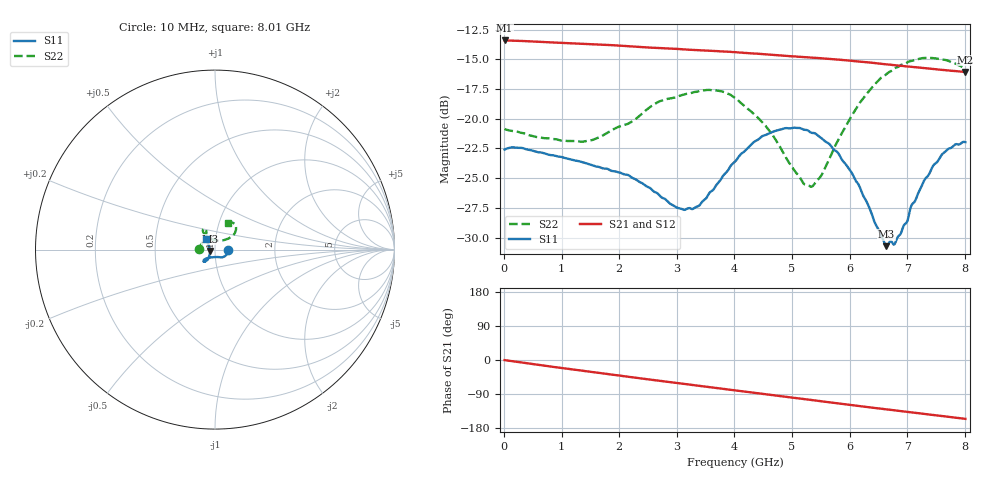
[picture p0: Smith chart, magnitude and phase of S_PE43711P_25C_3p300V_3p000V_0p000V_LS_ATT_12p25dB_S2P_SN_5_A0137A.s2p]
! Device ID: PE43711P
! File Path: z:\PE43711P\CHAR_NOM_04282014\AMB\3p300\LS_ATT_12p25dB\PE43711P_AMB_3p300V_3p000V_0p000V_LS_ATT_12p25dB_S2P_SN_5_A0137A.s2p
! Serial: 5
! Lot: A0137A
! Temp: 25C
! VDD: 3.300
! VSS: 0.000
! Control_Hi: 3.000
! Control_Lo: 0.000
! Attenuation Step: 12.25dB
! Port 1: RF1
! Port 2: RF2
! ThroughPath:1-2
! IDD: 0.000127623
! ISS: -9.22e-008
#  Hz  S  RI  R  50
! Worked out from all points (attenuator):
!   801 points, 10 MHz to 8.01 GHz, reference 50 ohm
!   highest |S21| = -13.41 dB at 10 MHz (marker M1); lowest = -16.1 dB at 8.01 GHz (marker M2)
!   lowest |S11| = -30.7 dB at 6.64 GHz (marker M3), VSWR 1.06, Z = 47.3 - j0.72 ohm
!   |S11| at or under -10 dB: start of sweep to end of sweep
!   |S22| runs from -25.7 to -14.9 dB; largest |S21 - S12| = 0.00036
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1e7  0.0743 -8.52e-05  0.2136 -0.00105  0.2137 -0.00116  -0.0907 0.000771
3.1e8  0.0745 -0.0118  0.211 -0.0254  0.2112 -0.0254  -0.0868 0.00811
1.35e9  0.0541 -0.0374  0.1825 -0.0977  0.1826 -0.0978  -0.0681 0.042
2.15e9  0.0381 -0.0438  0.1449 -0.1409  0.1451 -0.1409  -0.0523 0.0796
2.68e9  0.0234 -0.0421  0.1155 -0.1614  0.1156 -0.1615  -0.05 0.1068
3.01e9  0.00941 -0.0411  0.0959 -0.1718  0.0959 -0.1719  -0.052 0.1122
3.3e9  -0.00526 -0.0417  0.0778 -0.1784  0.0779 -0.1785  -0.0562 0.1167
3.69e9  -0.0282 -0.0446  0.0535 -0.1849  0.0534 -0.1849  -0.0646 0.1147
4.01e9  -0.0451 -0.0483  0.0326 -0.1878  0.0325 -0.1879  -0.0675 0.1021
4.34e9  -0.0585 -0.0544  0.0114 -0.1879  0.0114 -0.188  -0.0578 0.0871
4.69e9  -0.0638 -0.0615  -0.0106 -0.1853  -0.0107 -0.1854  -0.0421 0.072
5.19e9  -0.0599 -0.0675  -0.0402 -0.1774  -0.0402 -0.1774  -0.00394 0.0537
5.35e9  -0.0568 -0.0662  -0.0494 -0.174  -0.0494 -0.1741  0.0123 0.0504
5.52e9  -0.0516 -0.0644  -0.0588 -0.1697  -0.0588 -0.1698  0.0301 0.05
6.01e9  -0.0365 -0.0484  -0.0839 -0.1542  -0.0841 -0.1542  0.0781 0.0632
6.33e9  -0.0308 -0.03  -0.0982 -0.1419  -0.0983 -0.142  0.1018 0.081
6.64e9  -0.0281 -0.00761  -0.11 -0.1288  -0.1101 -0.129  0.1147 0.1031
6.68e9  -0.0296 -0.00423  -0.1114 -0.1273  -0.1114 -0.1274  0.1153 0.1065
6.86e9  -0.0314 0.00768  -0.1173 -0.1192  -0.1173 -0.1194  0.1173 0.1179
7.46e9  -0.0441 0.0463  -0.1334 -0.0917  -0.1334 -0.0918  0.1003 0.1494
7.7e9  -0.0491 0.0557  -0.1381 -0.0804  -0.138 -0.0803  0.0861 0.1533
8.01e9  -0.0504 0.0617  -0.1429 -0.0657  -0.1431 -0.0654  0.0704 0.146
